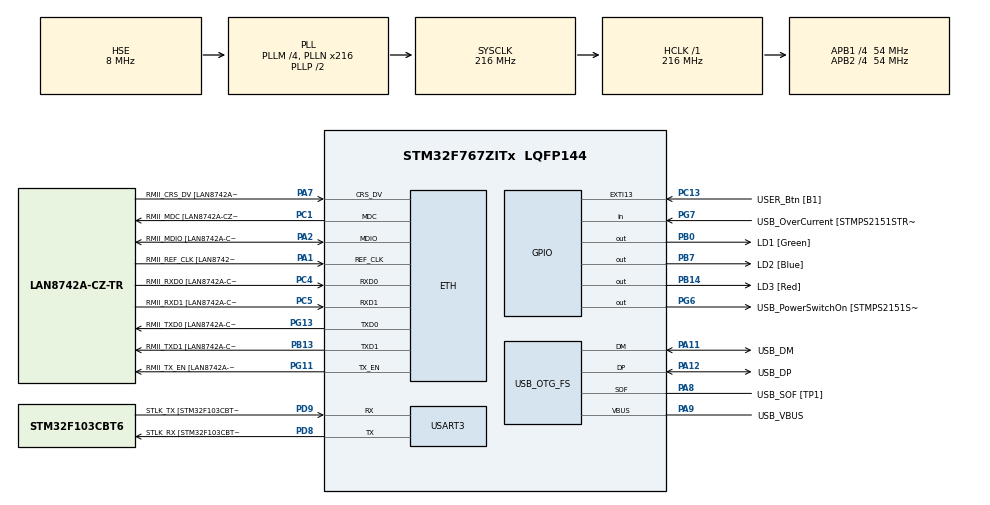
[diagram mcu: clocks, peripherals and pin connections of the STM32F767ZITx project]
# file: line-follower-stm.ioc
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Dma.Request0=USART3_RX
Dma.Request1=USART3_TX
Dma.USART3_RX.0.Direction=DMA_PERIPH_TO_MEMORY
Dma.USART3_RX.0.FIFOMode=DMA_FIFOMODE_DISABLE
Dma.USART3_RX.0.Instance=DMA1_Stream1
Dma.USART3_RX.0.MemDataAlignment=DMA_MDATAALIGN_BYTE
Dma.USART3_RX.0.MemInc=DMA_MINC_ENABLE
Dma.USART3_RX.0.Mode=DMA_CIRCULAR
Dma.USART3_RX.0.PeriphDataAlignment=DMA_PDATAALIGN_BYTE
Dma.USART3_RX.0.PeriphInc=DMA_PINC_DISABLE
Dma.USART3_RX.0.Priority=DMA_PRIORITY_VERY_HIGH
Dma.USART3_TX.1.Direction=DMA_MEMORY_TO_PERIPH
Dma.USART3_TX.1.FIFOMode=DMA_FIFOMODE_DISABLE
Dma.USART3_TX.1.Instance=DMA1_Stream3
Dma.USART3_TX.1.MemDataAlignment=DMA_MDATAALIGN_BYTE
Dma.USART3_TX.1.MemInc=DMA_MINC_ENABLE
Dma.USART3_TX.1.Mode=DMA_NORMAL
Dma.USART3_TX.1.PeriphDataAlignment=DMA_PDATAALIGN_BYTE
Dma.USART3_TX.1.PeriphInc=DMA_PINC_DISABLE
Dma.USART3_TX.1.Priority=DMA_PRIORITY_VERY_HIGH
ETH.MediaInterface=HAL_ETH_RMII_MODE
ETH.PHY_Name=LAN8742A_PHY_ADDRESS
ETH.PHY_Value=0
ETH.PhyAddress=0
FREERTOS.Tasks01=defaultTask,24,3000,StartDefaultTask,Default,NULL,Dynamic,NULL,NULL
LWIP.CMSIS_VERSION-Enabled=1
LWIP.GATEWAY_ADDRESS=169.254.137.001
LWIP.IP_ADDRESS=169.254.137.114
LWIP.LWIP_DHCP=0
LWIP.NETMASK_ADDRESS=225.225.225.000
LWIP.Version=v2.1.2_Cube
Mcu.Family=STM32F7
Mcu.Name=STM32F767ZITx
Mcu.Package=LQFP144
NVIC.DMA1_Stream1_IRQn=true\:5\:0\:false\:false\:true\:true\:false\:true\:true
NVIC.DMA1_Stream3_IRQn=true\:5\:0\:false\:false\:true\:true\:false\:true\:true
NVIC.ETH_IRQn=true\:5\:0\:false\:false\:true\:true\:false\:true\:true
NVIC.OTG_FS_IRQn=true\:5\:0\:false\:false\:true\:true\:false\:true\:true
NVIC.PriorityGroup=NVIC_PRIORITYGROUP_4
NVIC.TIM1_UP_TIM10_IRQn=true\:15\:0\:false\:false\:true\:false\:true\:true\:true
NVIC.TIM2_IRQn=true\:5\:0\:false\:false\:true\:true\:true\:true\:true
NVIC.TimeBase=TIM1_UP_TIM10_IRQn
NVIC.TimeBaseIP=TIM1
NVIC.USART3_IRQn=true\:5\:0\:false\:false\:true\:true\:true\:true\:true
PA1.GPIO_Label=RMII_REF_CLK [LAN8742A-CZ-TR_REFCLK0]
PA1.Mode=RMII
PA1.Signal=ETH_REF_CLK
PA10.GPIO_Label=USB_ID
PA10.Signal=USB_OTG_FS_ID
PA11.GPIO_Label=USB_DM
PA11.Mode=Device_Only
PA11.Signal=USB_OTG_FS_DM
PA12.GPIO_Label=USB_DP
PA12.Mode=Device_Only
PA12.Signal=USB_OTG_FS_DP
PA13.GPIO_Label=TMS
PA13.Mode=Serial_Wire
PA13.Signal=SYS_JTMS-SWDIO
PA14.GPIO_Label=TCK
PA14.Mode=Serial_Wire
PA14.Signal=SYS_JTCK-SWCLK
PA2.GPIO_Label=RMII_MDIO [LAN8742A-CZ-TR_MDIO]
PA2.Mode=RMII
PA2.Signal=ETH_MDIO
PA7.GPIO_Label=RMII_CRS_DV [LAN8742A-CZ-TR_CRS_DV]
PA7.Mode=RMII
PA7.Signal=ETH_CRS_DV
PA8.GPIO_Label=USB_SOF [TP1]
PA8.Mode=Activate_SOF_FS
PA8.Signal=USB_OTG_FS_SOF
PA9.GPIO_Label=USB_VBUS
PA9.Mode=Activate_VBUS
PA9.Signal=USB_OTG_FS_VBUS
PB0.GPIO_Label=LD1 [Green]
PB0.Signal=GPIO_Output
PB13.GPIO_Label=RMII_TXD1 [LAN8742A-CZ-TR_TXD1]
PB13.Mode=RMII
PB13.Signal=ETH_TXD1
PB14.GPIO_Label=LD3 [Red]
PB14.Signal=GPIO_Output
PB3.GPIO_Label=SWO
PB3.Signal=SYS_JTDO-SWO
PB7.GPIO_Label=LD2 [Blue]
PB7.Signal=GPIO_Output
PC1.GPIO_Label=RMII_MDC [LAN8742A-CZ-TR_MDC]
PC1.Mode=RMII
PC1.Signal=ETH_MDC
PC13.GPIO_Label=USER_Btn [B1]
PC13.Signal=GPXTI13
PC14/OSC32_IN.Mode=LSE-External-Oscillator
PC14/OSC32_IN.Signal=RCC_OSC32_IN
PC15/OSC32_OUT.Mode=LSE-External-Oscillator
PC15/OSC32_OUT.Signal=RCC_OSC32_OUT
PC4.GPIO_Label=RMII_RXD0 [LAN8742A-CZ-TR_RXD0]
PC4.Mode=RMII
PC4.Signal=ETH_RXD0
PC5.GPIO_Label=RMII_RXD1 [LAN8742A-CZ-TR_RXD1]
PC5.Mode=RMII
PC5.Signal=ETH_RXD1
PD8.GPIO_Label=STLK_RX [STM32F103CBT6_PA3]
PD8.Mode=Asynchronous
PD8.Signal=USART3_TX
PD9.GPIO_Label=STLK_TX [STM32F103CBT6_PA2]
PD9.Mode=Asynchronous
PD9.Signal=USART3_RX
PG11.GPIO_Label=RMII_TX_EN [LAN8742A-CZ-TR_TXEN]
PG11.Mode=RMII
PG11.Signal=ETH_TX_EN
PG13.GPIO_Label=RMII_TXD0 [LAN8742A-CZ-TR_TXD0]
PG13.Mode=RMII
PG13.Signal=ETH_TXD0
PG6.GPIO_Label=USB_PowerSwitchOn [STMPS2151STR_EN]
PG6.Signal=GPIO_Output
PG7.GPIO_Label=USB_OverCurrent [STMPS2151STR_FAULT]
PG7.Signal=GPIO_Input
PH0/OSC_IN.GPIO_Label=MCO [STM32F103CBT6_PA8]
PH0/OSC_IN.Mode=HSE-External-Clock-Source
PH0/OSC_IN.Signal=RCC_OSC_IN
PH1/OSC_OUT.Mode=HSE-External-Clock-Source
PH1/OSC_OUT.Signal=RCC_OSC_OUT
ProjectManager.HeapSize=0x200
ProjectManager.StackSize=0x400
ProjectManager.TargetToolchain=STM32CubeIDE
RCC.48MHZClocksFreq_Value=24000000
RCC.AHBFreq_Value=216000000
RCC.APB1CLKDivider=RCC_HCLK_DIV4
RCC.APB1Freq_Value=54000000
RCC.APB1TimFreq_Value=108000000
RCC.APB2CLKDivider=RCC_HCLK_DIV4
RCC.APB2Freq_Value=54000000
RCC.APB2TimFreq_Value=108000000
RCC.CortexFreq_Value=216000000
RCC.HCLKFreq_Value=216000000
RCC.HSE_VALUE=8000000
RCC.HSI_VALUE=16000000
RCC.PLLM=4
RCC.PLLMUL=RCC_PLL_MUL9
RCC.PLLN=216
RCC.PLLQ=9
RCC.PRESCALERUSB=RCC_USBCLKSOURCE_PLL_DIV1_5
RCC.SYSCLKFreq_VALUE=216000000
RCC.SYSCLKSource=RCC_SYSCLKSOURCE_PLLCLK
RCC.SYSCLKSourceVirtual=RCC_SYSCLKSOURCE_PLLCLK
RCC.USBFreq_Value=48000000
RCC.VCOOutputFreq_Value=432000000
TIM2.Period=1000-1
TIM2.Prescaler=108-1
USART3.VirtualMode-Asynchronous=VM_ASYNC
USB_DEVICE.CLASS_NAME_FS=CDC
USB_DEVICE.VirtualMode-CDC_FS=Cdc
USB_DEVICE.VirtualModeFS=Cdc_FS
USB_OTG_FS.VirtualMode=Device_Only
VP_FREERTOS_VS_CMSIS_V2.Mode=CMSIS_V2
VP_LWIP_VS_Enabled.Mode=Enabled
VP_SYS_VS_tim1.Mode=TIM1
VP_TIM2_VS_ClockSourceINT.Mode=Internal
VP_USB_DEVICE_VS_USB_DEVICE_CDC_FS.Mode=CDC_FS
board=NUCLEO-F767ZI

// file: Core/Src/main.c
/* USER CODE BEGIN Header */
/**
 ******************************************************************************
 * @file           : main.c
 * @brief          : Main program body
 ******************************************************************************
 * @attention
 *
 * Copyright (c) 2024 STMicroelectronics.
 * All rights reserved.
 *
 * This software is licensed under terms that can be found in the LICENSE file
 * in the root directory of this software component.
 * If no LICENSE file comes with this software, it is provided AS-IS.
 *
 ******************************************************************************
 */
/* USER CODE END Header */
#include "main.h"
#include "cmsis_os.h"
#include "dma.h"
#include "lwip.h"
#include "tim.h"
#include "usart.h"
#include "usb_device.h"
#include "gpio.h"

void SystemClock_Config(void);
void MX_FREERTOS_Init(void);

int main(void)
{

  /* MCU Configuration--------------------------------------------------------*/

  /* Reset of all peripherals, Initializes the Flash interface and the Systick. */
  HAL_Init();

  /* Configure the system clock */
  SystemClock_Config();

  /* Initialize all configured peripherals */
  MX_GPIO_Init();
  MX_DMA_Init();
  MX_USART3_UART_Init();
  MX_TIM2_Init();
  /* USER CODE BEGIN 2 */
  // printf("Hello\n");
  HAL_GPIO_WritePin(GPIOB, 7, GPIO_PIN_SET);
  HAL_Delay(500);
  HAL_GPIO_WritePin(GPIOB, 7, GPIO_PIN_RESET);

  // HAL_TIM_Base_Start_IT(&htim2);
  /* USER CODE END 2 */

  /* Init scheduler */
  osKernelInitialize();

  /* Call init function for freertos objects (in cmsis_os2.c) */
  MX_FREERTOS_Init();

  /* Start scheduler */
  osKernelStart();

  /* We should never get here as control is now taken by the scheduler */

  /* Infinite loop */
  while (1)
  {

  }
}

void SystemClock_Config(void)
{
  RCC_OscInitTypeDef RCC_OscInitStruct = {0};
  RCC_ClkInitTypeDef RCC_ClkInitStruct = {0};

  /** Configure LSE Drive Capability
  */
  HAL_PWR_EnableBkUpAccess();

  /** Configure the main internal regulator output voltage
  */
  __HAL_RCC_PWR_CLK_ENABLE();
  __HAL_PWR_VOLTAGESCALING_CONFIG(PWR_REGULATOR_VOLTAGE_SCALE1);

  /** Initializes the RCC Oscillators according to the specified parameters
  * in the RCC_OscInitTypeDef structure.
  */
  RCC_OscInitStruct.OscillatorType = RCC_OSCILLATORTYPE_HSE;
  RCC_OscInitStruct.HSEState = RCC_HSE_BYPASS;
  RCC_OscInitStruct.PLL.PLLState = RCC_PLL_ON;
  RCC_OscInitStruct.PLL.PLLSource = RCC_PLLSOURCE_HSE;
  RCC_OscInitStruct.PLL.PLLM = 4;
  RCC_OscInitStruct.PLL.PLLN = 216;
  RCC_OscInitStruct.PLL.PLLP = RCC_PLLP_DIV2;
  RCC_OscInitStruct.PLL.PLLQ = 9;
  RCC_OscInitStruct.PLL.PLLR = 2;
  if (HAL_RCC_OscConfig(&RCC_OscInitStruct) != HAL_OK)
  {
    Error_Handler();
  }

  /** Activate the Over-Drive mode
  */
  if (HAL_PWREx_EnableOverDrive() != HAL_OK)
  {
    Error_Handler();
  }

  /** Initializes the CPU, AHB and APB buses clocks
  */
  RCC_ClkInitStruct.ClockType = RCC_CLOCKTYPE_HCLK|RCC_CLOCKTYPE_SYSCLK
                              |RCC_CLOCKTYPE_PCLK1|RCC_CLOCKTYPE_PCLK2;
  RCC_ClkInitStruct.SYSCLKSource = RCC_SYSCLKSOURCE_PLLCLK;
  RCC_ClkInitStruct.AHBCLKDivider = RCC_SYSCLK_DIV1;
  RCC_ClkInitStruct.APB1CLKDivider = RCC_HCLK_DIV4;
  RCC_ClkInitStruct.APB2CLKDivider = RCC_HCLK_DIV4;

  if (HAL_RCC_ClockConfig(&RCC_ClkInitStruct, FLASH_LATENCY_7) != HAL_OK)
  {
    Error_Handler();
  }
}

void HAL_TIM_PeriodElapsedCallback(TIM_HandleTypeDef *htim)
{
  /* USER CODE BEGIN Callback 0 */
  static int cnt = 0;
  /* USER CODE END Callback 0 */
  if (htim->Instance == TIM1) {
    HAL_IncTick();
  }
  /* USER CODE BEGIN Callback 1 */
  if (htim->Instance == TIM2) // 1kHz interruption
  {
    if (cnt < 500)
      HAL_GPIO_WritePin(GPIOB, 7, GPIO_PIN_SET);
    else
      HAL_GPIO_WritePin(GPIOB, 7, GPIO_PIN_RESET);
    cnt = (cnt + 1) % 1000;
  }
  /* USER CODE END Callback 1 */
}

void Error_Handler(void)
{
  __disable_irq();
  while (1)
  {
  }
}

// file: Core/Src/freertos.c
/* USER CODE BEGIN Header */
/**
 ******************************************************************************
 * File Name          : freertos.c
 * Description        : Code for freertos applications
 ******************************************************************************
 * @attention
 *
 * Copyright (c) 2024 STMicroelectronics.
 * All rights reserved.
 *
 * This software is licensed under terms that can be found in the LICENSE file
 * in the root directory of this software component.
 * If no LICENSE file comes with this software, it is provided AS-IS.
 *
 ******************************************************************************
 */
/* USER CODE END Header */

#include "FreeRTOS.h"
#include "task.h"
#include "main.h"
#include "cmsis_os.h"

/* USER CODE BEGIN Includes */
#include <rcl/rcl.h>
#include <rcl/error_handling.h>
#include <rclc/rclc.h>
#include <rclc/executor.h>
#include <uxr/client/transport.h>
#include <rmw_microxrcedds_c/config.h>
#include <rmw_microros/rmw_microros.h>
#include "tim.h"
#include "usart.h"

#include <rosidl_runtime_c/string_functions.h>
#include <std_msgs/msg/int32.h>
#include <follower_msgs/msg/input.h>
/* USER CODE END Includes */

/* USER CODE BEGIN PD */
// Error Handling
#define RCCHECK(fn)                                                                \
  {                                                                                \
    rcl_ret_t temp_rc = fn;                                                        \
    if ((temp_rc != RCL_RET_OK))                                                   \
    {                                                                              \
      printf("Failed status on line %d: %d. Aborting.\n", __LINE__, (int)temp_rc); \
    }                                                                              \
  }
#define RCSOFTCHECK(fn)                                                              \
  {                                                                                  \
    rcl_ret_t temp_rc = fn;                                                          \
    if ((temp_rc != RCL_RET_OK))                                                     \
    {                                                                                \
      printf("Failed status on line %d: %d. Continuing.\n", __LINE__, (int)temp_rc); \
    }                                                                                \
  }
/* USER CODE END PD */

/* Definitions for defaultTask */
osThreadId_t defaultTaskHandle;
const osThreadAttr_t defaultTask_attributes = {
  .name = "defaultTask",
  .stack_size = 3000 * 4,
  .priority = (osPriority_t) osPriorityNormal,
};

/* USER CODE BEGIN FunctionPrototypes */
bool cubemx_transport_open(struct uxrCustomTransport *transport);
bool cubemx_transport_close(struct uxrCustomTransport *transport);
size_t cubemx_transport_write(struct uxrCustomTransport *transport, const uint8_t *buf, size_t len, uint8_t *err);
size_t cubemx_transport_read(struct uxrCustomTransport *transport, uint8_t *buf, size_t len, int timeout, uint8_t *err);

void *microros_allocate(size_t size, void *state);
void microros_deallocate(void *pointer, void *state);
void *microros_reallocate(void *pointer, size_t size, void *state);
void *microros_zero_allocate(size_t number_of_elements, size_t size_of_element, void *state);
/* USER CODE END FunctionPrototypes */

void StartDefaultTask(void *argument);

extern void MX_LWIP_Init(void);
extern void MX_USB_DEVICE_Init(void);
void MX_FREERTOS_Init(void); /* (MISRA C 2004 rule 8.1) */

void MX_FREERTOS_Init(void) {

  /* Create the thread(s) */
  /* creation of defaultTask */
  defaultTaskHandle = osThreadNew(StartDefaultTask, NULL, &defaultTask_attributes);

}

void StartDefaultTask(void *argument)
{
  /* init code for LWIP */
  MX_LWIP_Init();

  /* init code for USB_DEVICE */
  MX_USB_DEVICE_Init();
  /* USER CODE BEGIN StartDefaultTask */

  // micro-ROS configuration
  rmw_uros_set_custom_transport(
      true,
      (void *)&huart3,
      cubemx_transport_open,
      cubemx_transport_close,
      cubemx_transport_write,
      cubemx_transport_read);

  rcl_allocator_t freeRTOS_allocator = rcutils_get_zero_initialized_allocator();
  freeRTOS_allocator.allocate = microros_allocate;
  freeRTOS_allocator.deallocate = microros_deallocate;
  freeRTOS_allocator.reallocate = microros_reallocate;
  freeRTOS_allocator.zero_allocate = microros_zero_allocate;

  if (!rcutils_set_default_allocator(&freeRTOS_allocator))
  {
    printf("Error on default allocators (line %d)\n", __LINE__);
  }

  // micro-ROS app
  rcl_publisher_t publisher;
  // std_msgs__msg__Int32 msg;
  follower_msgs__msg__Input msg;
  rclc_support_t support;
  rcl_allocator_t allocator;
  rcl_node_t node;
  rcl_init_options_t init_options;
  size_t domain_id = 30;

  allocator = rcl_get_default_allocator();

  // create init_options
  // RCCHECK(rclc_support_init(&support, 0, NULL, &allocator));
  init_options = rcl_get_zero_initialized_init_options();
  RCCHECK(rcl_init_options_init(&init_options, allocator));
  RCCHECK(rcl_init_options_set_domain_id(&init_options, domain_id));
  RCCHECK(rclc_support_init_with_options(&support, 0, NULL, &init_options, &allocator));

  // create node
  RCCHECK(rclc_node_init_default(&node, "cubemx_node", "", &support));

  // create publisher
  RCCHECK(rclc_publisher_init_default(
      &publisher,
      &node,
      // ROSIDL_GET_MSG_TYPE_SUPPORT(std_msgs, msg, Int32),
      ROSIDL_GET_MSG_TYPE_SUPPORT(follower_msgs, msg, Input),
      "input"));

  // msg.data = 0;
  msg.u1 = 1.0;
  msg.u2 = 2.0;
  msg.u3 = 3.0;
  msg.u4 = 4.0;

  // initialize timer for LED
  HAL_TIM_Base_Start_IT(&htim2);

  /* Infinite loop */
  for (;;)
  {
    rcl_ret_t ret = rcl_publish(&publisher, &msg, NULL);
    if (ret != RCL_RET_OK)
    {
      printf("Error publishing (line %d)\n", __LINE__);
    }
    // RCCHECK(rcl_publish(&publisher, &msg, NULL));

    // msg.data++;
    osDelay(10);
  }
  /* USER CODE END StartDefaultTask */
}
